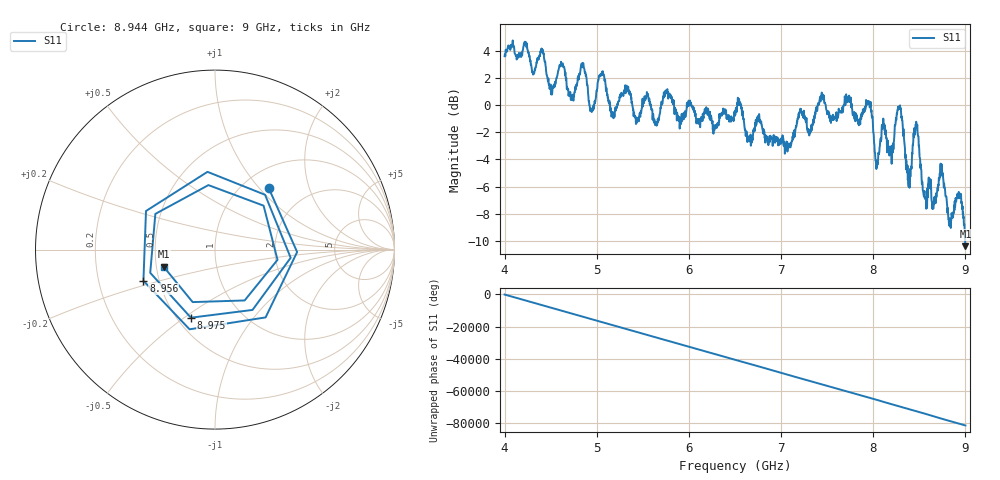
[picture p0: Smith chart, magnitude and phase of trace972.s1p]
! Created with skrf 1.8.0 (http://scikit-rf.org).
# Hz S RI R 50.0
!freq ReS11 ImS11
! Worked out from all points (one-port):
!   1601 points, 4 GHz to 9 GHz, reference 50 ohm
!   lowest |S11| = -10.4 dB at 9 GHz (marker M1), VSWR 1.87, Z = 27.3 - j5.68 ohm
!   |S11| at or under -10 dB: 8.997307 GHz to end of sweep
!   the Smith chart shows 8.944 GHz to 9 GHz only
!   S11 on the Smith chart (normalised r, x): 8.944 GHz: 1.31, +1.13; 8.956 GHz: 0.41, -0.17; 8.975 GHz: 0.59, -0.53; 9 GHz: 0.55, -0.11
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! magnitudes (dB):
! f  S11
! 4 GHz  3.6
! 4.406 GHz  4.2
! 4.509 GHz  0.9
! 4.625 GHz  2.9
! 4.728 GHz  0.4
! 4.853 GHz  3.1
! 4.944 GHz  -0.5
! 5.05 GHz  2.3
! 5.172 GHz  -0.5
! 5.25 GHz  0.6
! 5.875 GHz  -0.9
! 6.5 GHz  -0.4
! 7.125 GHz  -2.3
! 7.441 GHz  0.9
! 7.75 GHz  0.3
! 7.956 GHz  0.1
! 8.041 GHz  -4.6
! 8.197 GHz  -3.3
! 8.288 GHz  -0.1
! 8.375 GHz  -5.5
! 8.462 GHz  -1.5
! 8.559 GHz  -6.9
! 8.738 GHz  -4.8
! 8.831 GHz  -8.3
! 8.944 GHz  -6.9
! 8.956 GHz  -7.2
! 8.975 GHz  -7.9
! 9 GHz  -10.4
